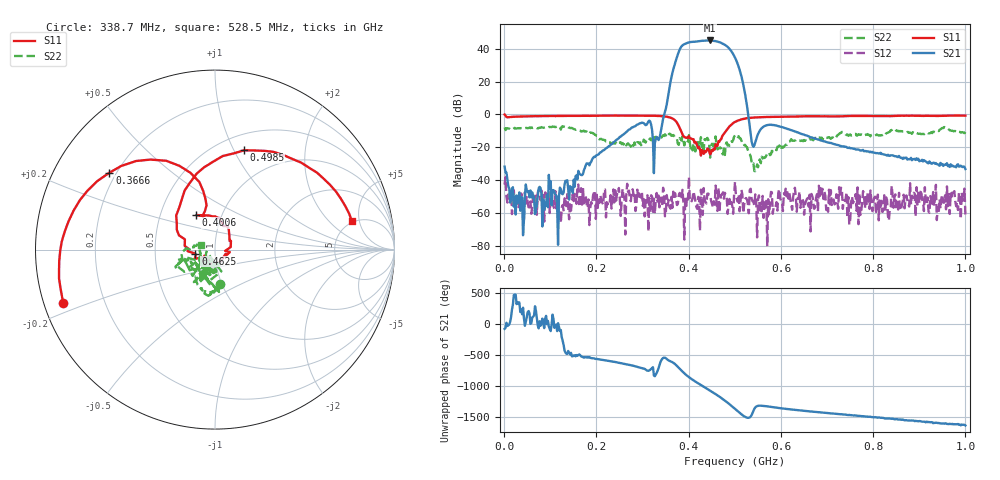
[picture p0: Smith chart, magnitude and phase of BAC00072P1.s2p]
!measured: 2026-10-27T15:01:10
!cal_instance: BBtestOct27
!cal_created: 2026-10-27T14:45
!cal_file: BBtesting.cal
!port1_delay_ps: -58.63
!port2_delay_ps: -59.31
!host: dhcp-10-250-247-203.harvard.edu
! Created with skrf 2.1.0 (http://scikit-rf.org).
# Hz S RI R 50.0
!freq ReS11 ImS11 ReS21 ImS21 ReS12 ImS12 ReS22 ImS22
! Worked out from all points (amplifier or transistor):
!   501 points, 1 MHz to 1 GHz, reference 50 ohm
!   highest |S21| = 44.9 dB at 446.6 MHz (marker M1)
!   |S21| within 3 dB of that: 386.6 MHz to 480.5 MHz (93.88 MHz wide, 21.7 % of centre)
!   unconditionally stable (mu >= 1): start of sweep to 399.8 MHz; 464.7 MHz to 500.4 MHz; 500.5 MHz to end of sweep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
!   at 166.8 MHz: K = 923.91, MAG = -28.6 dB, |S12| = -44.8 dB
!   at 500.5 MHz: K = 0.99, MSG = 37.7 dB, |S12| = -40.9 dB
!   at 1 GHz: K = 3391.31, MAG = -24.4 dB, |S12| = -60.9 dB
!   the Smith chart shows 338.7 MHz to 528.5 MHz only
!   S11 on the Smith chart (normalised r, x): 338.7 MHz: 0.06, -0.17; 366.6 MHz: 0.17, +0.32; 400.6 MHz: 0.76, +0.31; 462.5 MHz: 0.80, -0.04; 498.5 MHz: 0.66, +1.10; 528.5 MHz: 4.79, +3.89
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1000000  -0.3985 0.9168  0.00469 -0.0257  -0.000269 -0.00747  0.4049 -0.002
1.68832e8  0.508 -0.754  -0.0142 -0.00261  0.00155 -0.001  -0.0231 -0.3138
3.34666e8  -0.8211 -0.3742  0.1673 0.0156  -0.000273 -0.00347  0.0437 -0.193
3.38662e8  -0.846 -0.2973  -0.0481 0.2493  -0.0028 -0.00108  0.0286 -0.1906
3.66634e8  -0.5885 0.4283  -1.921 23.04  0.00266 0.00371  -0.0692 -0.2285
3.76624e8  -0.1986 0.4669  59.88 29.84  0.000279 -0.00192  -0.0923 -0.0908
3.84616e8  -0.0531 0.2814  97.48 -64.42  -0.00191 0.0018  -0.1497 -0.0588
3.92608e8  -0.0657 0.1911  1.889 -139.7  -0.000639 -0.0029  -0.1389 -0.0943
4.006e8  -0.1043 0.1925  -112.9 -104.2  0.00696 0.0106  0.0225 -0.236
4.12588e8  0.045 0.1321  -151.9 53.54  -0.00285 -0.00185  -0.0231 -0.1106
4.26574e8  0.0563 -0.00712  -18.82 169.5  -0.00469 -0.00232  -0.0895 -0.1855
4.36564e8  0.00597 -0.0709  111.3 135  0.000698 -0.00213  -0.06 -0.1548
4.46554e8  -0.0515 -0.0336  175.5 14.04  -0.00125 -0.00338  -0.0477 -0.011
4.62538e8  -0.1096 -0.0224  52.49 -153.7  -0.00118 -6.08e-06  -9.78e-05 -0.0874
4.8052e8  -0.1982 0.2374  -120.8 -30.74  0.00306 -0.00182  0.00896 -0.1229
4.9051e8  -0.0619 0.4577  -63.91 64.56  -0.00177 0.000272  -0.0288 -0.1378
4.98502e8  0.1614 0.553  5.792 60.32  -0.000877 0.00338  -0.1708 -0.1236
5.005e8  0.2205 0.5523  16.57 50.55  0.00504 0.00748  -0.2147 -0.0884
5.28472e8  0.7621 0.16  0.3596 -1.102  -0.00173 -0.000832  -0.0778 0.0258
6.68332e8  0.1159 -0.874  0.1753 0.092  0.000309 -0.00321  0.0368 -0.1688
8.34166e8  -0.549 -0.7079  0.00755 -0.0557  -0.000549 0.000254  -0.1749 -0.2335
1e9  -0.8682 -0.3132  -0.0214 0.00578  0.000277 -0.000855  -0.2445 -0.1625
